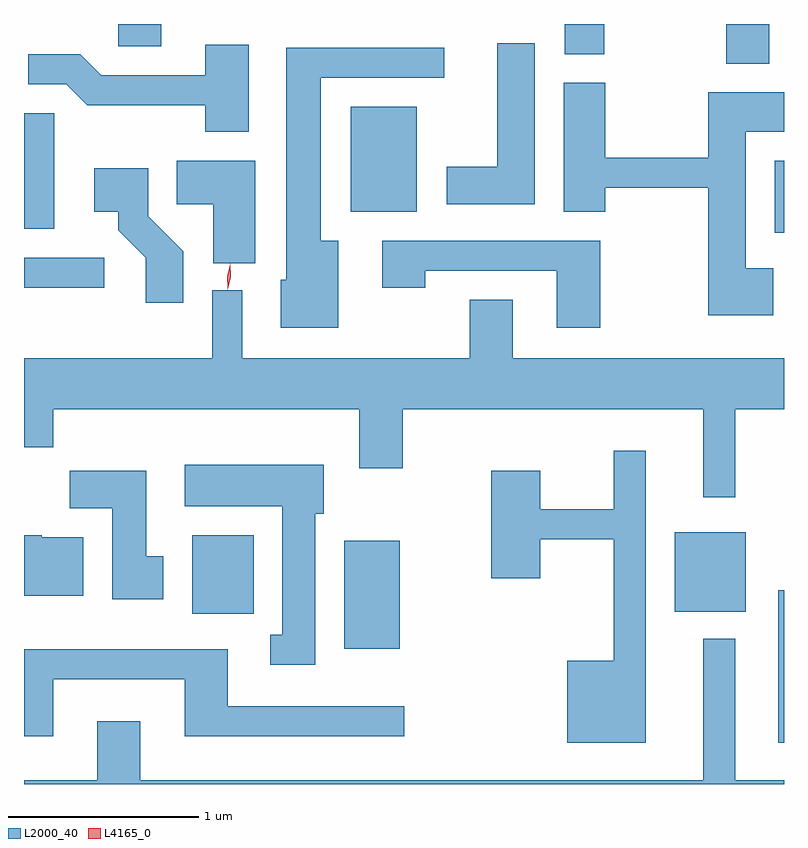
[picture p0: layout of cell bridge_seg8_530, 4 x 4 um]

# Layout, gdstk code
import gdstk
lib = gdstk.Library(unit=1e-6, precision=1e-09)
def R(c, l, rs):  # rectangles x0, y0, x1, y1
    for r in rs: c.add(gdstk.rectangle(r[:2], r[2:], *l))
def P(c, l, *ps):  # polygons
    for p in ps: c.add(gdstk.Polygon(p, *l))
L2000_40 = (2000, 40)
L4165_0 = (4165, 0)

bridge_seg8_530 = lib.new_cell('bridge_seg8_530')
R(bridge_seg8_530, L2000_40, [(253.776,1865.741,253.806,1866.544), (251.491,1866.236,251.784,1866.804), (250.691,1866.421,251.014,1866.834), (253.231,1866.431,253.604,1866.849), (249.806,1868.136,250.228,1868.294), (253.756,1868.426,253.806,1868.804), (249.806,1868.446,249.964,1869.054), (251.526,1868.536,251.874,1869.089), (253.501,1869.316,253.729,1869.524), (252.651,1869.366,252.859,1869.524), (250.301,1869.406,250.529,1869.524)])
P(bridge_seg8_530, L2000_40, [(252.494,1869.424),(252.296,1869.424),(252.296,1868.774),(252.031,1868.774),(252.031,1868.576),(252.494,1868.576)],
  [(250.989,1869.414),(250.761,1869.414),(250.761,1869.254),(250.212,1869.254),(250.102,1869.364),(249.828,1869.364),(249.828,1869.206),(250.029,1869.206),(250.139,1869.096),(250.761,1869.096),(250.761,1868.956),(250.989,1868.956)],
  [(251.459,1868.384),(251.369,1868.384),(251.369,1869.241),(252.018,1869.241),(252.018,1869.399),(251.186,1869.399),(251.186,1868.179),(251.156,1868.179),(251.156,1867.926),(251.459,1867.926)],
  [(253.749,1868.239),(253.604,1868.239),(253.604,1868.956),(253.806,1868.956),(253.806,1869.164),(253.406,1869.164),(253.406,1868.819),(252.864,1868.819),(252.864,1869.214),(252.646,1869.214),(252.646,1868.536),(252.864,1868.536),(252.864,1868.661),(253.406,1868.661),(253.406,1867.991),(253.749,1867.991)],
  [(251.024,1868.804),(250.611,1868.804),(250.611,1868.576),(250.801,1868.576),(250.801,1868.266),(251.024,1868.266)],
  [(250.644,1868.327),(250.459,1868.512),(250.459,1868.764),(250.176,1868.764),(250.176,1868.536),(250.301,1868.536),(250.301,1868.439),(250.446,1868.294),(250.446,1868.056),(250.644,1868.056)],
  [(252.839,1868.384),(251.691,1868.384),(251.691,1868.136),(251.919,1868.136),(251.919,1868.226),(252.611,1868.226),(252.611,1867.926),(252.839,1867.926)],
  [(253.549,1867.496),(253.806,1867.496),(253.806,1867.764),(252.379,1867.764),(252.379,1868.074),(252.151,1868.074),(252.151,1867.764),(250.954,1867.764),(250.954,1868.123),(250.796,1868.123),(250.796,1867.764),(249.806,1867.764),(249.806,1867.296),(249.959,1867.296),(249.959,1867.496),(251.571,1867.496),(251.571,1867.186),(251.799,1867.186),(251.799,1867.496),(253.381,1867.496),(253.381,1867.033),(253.549,1867.033)],
  [(253.079,1867.278),(252.911,1867.278),(252.911,1866.969),(252.524,1866.969),(252.524,1867.174),(252.266,1867.174),(252.266,1866.606),(252.524,1866.606),(252.524,1866.811),(252.911,1866.811),(252.911,1866.174),(252.666,1866.174),(252.666,1865.741),(253.079,1865.741)],
  [(251.339,1866.946),(251.384,1866.946),(251.384,1867.204),(250.651,1867.204),(250.651,1866.986),(251.166,1866.986),(251.166,1866.309),(251.103,1866.309),(251.103,1866.151),(251.339,1866.151)],
  [(250.539,1866.724),(250.449,1866.724),(250.449,1867.174),(250.046,1867.174),(250.046,1866.976),(250.271,1866.976),(250.271,1866.496),(250.539,1866.496)],
  [(250.119,1866.824),(249.9,1866.824),(249.9,1866.834),(249.806,1866.834),(249.806,1866.516),(250.119,1866.516)],
  [(253.806,1865.544),(253.549,1865.544),(253.549,1866.288),(253.381,1866.288),(253.381,1865.544),(250.419,1865.544),(250.419,1865.854),(250.191,1865.854),(250.191,1865.544),(249.806,1865.544),(249.806,1865.524),(253.806,1865.524)],
  [(249.959,1866.076),(250.651,1866.076),(250.651,1865.776),(251.808,1865.776),(251.808,1865.934),(250.879,1865.934),(250.879,1866.234),(249.806,1866.234),(249.806,1865.776),(249.959,1865.776)])
P(bridge_seg8_530, L4165_0, [(250.879,1868.128),(250.878,1868.129),(250.876,1868.196),(250.891,1868.26),(250.892,1868.261),(250.892,1868.26),(250.895,1868.194),(250.879,1868.129)])

lib.write_gds('bridge_seg8_530.gds')
